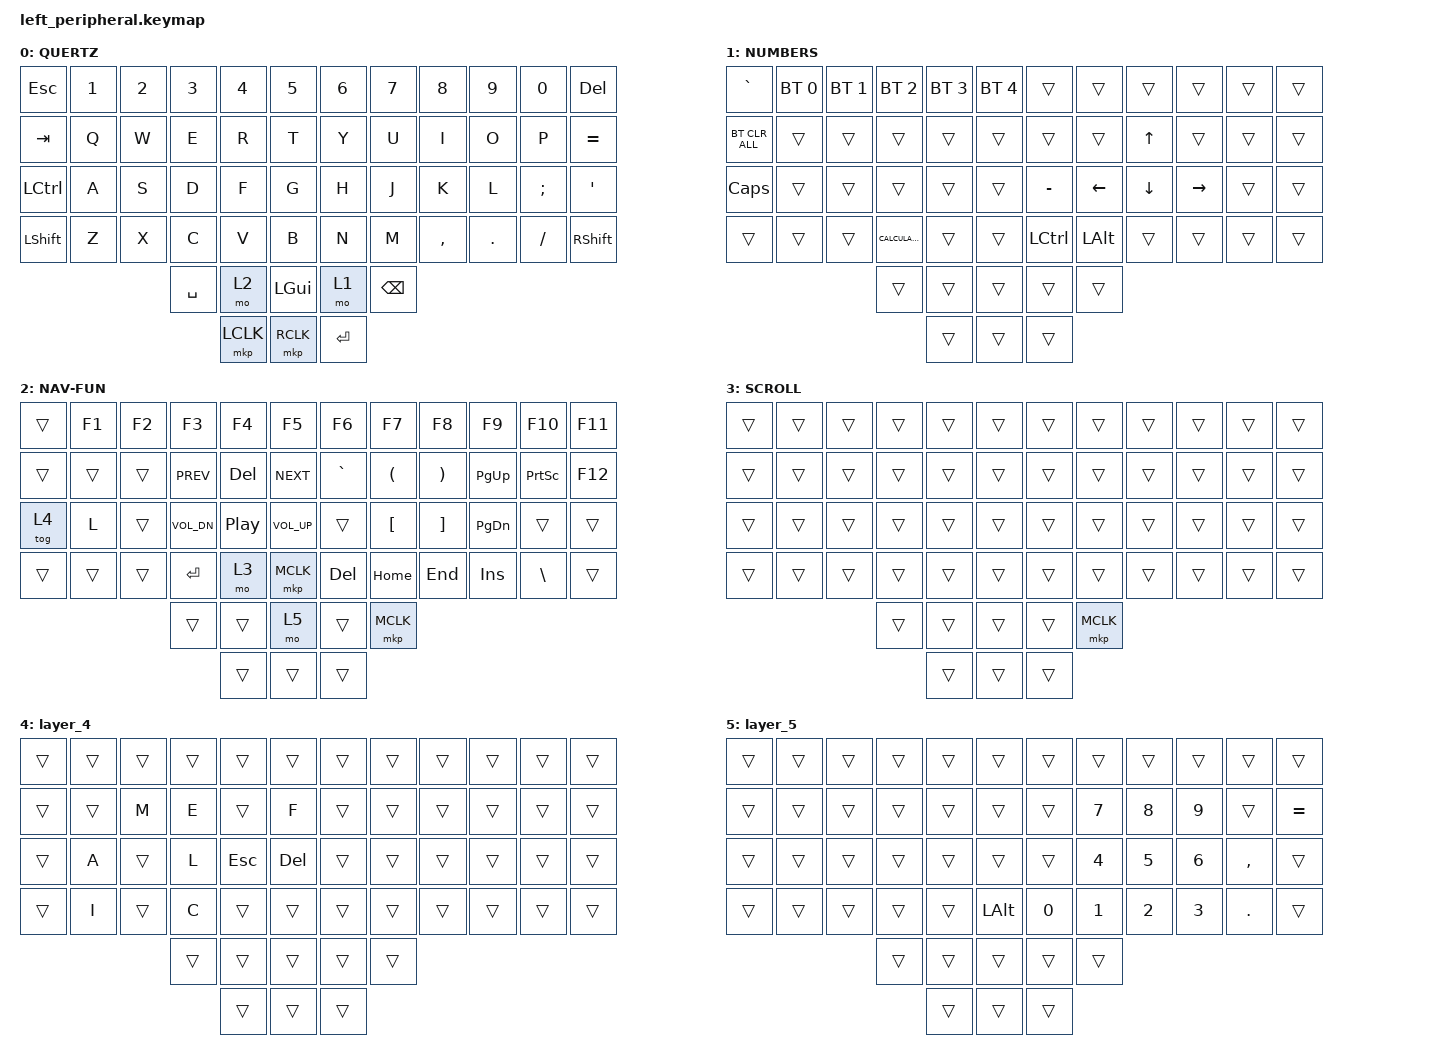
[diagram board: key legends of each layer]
// FROZEN copy of the keymap used ONLY to build the left half (split peripheral).
// The left half never runs the keymap; the right half does. Do not edit this file
// for keymap changes - edit config/charybdis.keymap instead.

#include <dt-bindings/zmk/mouse.h>
#include <behaviors/mouse_keys.dtsi>
#include <behaviors.dtsi>
#include <dt-bindings/zmk/bt.h>
#include <dt-bindings/zmk/keys.h>
#include <dt-bindings/zmk/pointing.h>

// / {
//     chosen { zmk,matrix_transform = &default_transform; };
// };

/ {
    /* input config for mouse move mode */

    trackball_listener {
        compatible = "zmk,input-behavior-listener";
        device = <&vtrackball>;
        layers = <0 1 2>;
        evt-type = <INPUT_EV_REL>;
        x-input-code = <INPUT_REL_X>;
        y-input-code = <INPUT_REL_Y>;
        scale-multiplier = <1>;
        scale-divisor = <2>;

        // bindings = <&ib_toggle_layer 7>;
    };

    /* input config for mouse scroll mode */

    trackball_scroll_listener {
        compatible = "zmk,input-behavior-listener";
        device = <&vtrackball>;
        layers = <3>;
        evt-type = <INPUT_EV_REL>;
        x-input-code = <INPUT_REL_MISC>;
        y-input-code = <INPUT_REL_WHEEL>;
        y-invert;
        bindings = <&ib_wheel_scaler 1 14>;
    };

    /* define a resolution down scaler only for INPUT_REL_WHEEL */

    ib_wheel_scaler: ib_wheel_scaler {
        compatible = "zmk,input-behavior-scaler";
        #binding-cells = <2>;
        evt-type = <INPUT_EV_REL>;
        input-code = <INPUT_REL_WHEEL>;
    };

    /* adjust cooldown waiting period for mouse key layer after activated */

    ib_toggle_layer: ib_toggle_layer {
        compatible = "zmk,input-behavior-tog-layer";
        #binding-cells = <1>;
        time-to-live-ms = <750>;
    };

    // #define QUERTZ    0
    // #define NUMBERS   1
    // #define NAV-FUN   2
    // #define MAC       3
    // #define MAC-NUM   4
    // #define MAC-NAV   5
    // #define GAME      6
    // #define GAME-NUM  7
    // #define GAME-NAV  8
    // #define SCROLL    9
    // #define SNIPER   10
    // #define FN       11

    behaviors {
        hmr: hmr {
            compatible = "zmk,behavior-hold-tap";
            label = "HMR";
            bindings = <&kp>, <&kp>;

            #binding-cells = <2>;
            tapping-term-ms = <200>;
            quick-tap-ms = <175>;
            flavor = "balanced";
            hold-trigger-key-positions = <0 1 2 3 4 5 12 13 14 15 16 17 24 25 26 27 28 29 36 37 38 39 40 41 48 49 50 53 54 51 52 55>;
            hold-trigger-on-release;
        };

        hml: hml {
            compatible = "zmk,behavior-hold-tap";
            label = "HML";
            bindings = <&kp>, <&kp>;

            #binding-cells = <2>;
            tapping-term-ms = <200>;
            quick-tap-ms = <175>;
            flavor = "balanced";
            hold-trigger-key-positions = <48 49 50 53 54 51 52 55 6 7 8 9 10 11 18 19 20 21 22 23 30 31 32 33 34 35 42 43 44 45 46 47 51 52>;
            hold-trigger-on-release;
        };
    };

    keymap {
        compatible = "zmk,keymap";

        default_win_layer {
            bindings = <
&kp ESCAPE      &kp N1  &kp N2  &kp N3     &kp N4     &kp N5          &kp N6     &kp N7         &kp N8     &kp N9   &kp N0         &kp DELETE
&kp TAB         &kp Q   &kp W   &kp E      &kp R      &kp T           &kp Y      &kp U          &kp I      &kp O    &kp P          &kp EQUAL
&kp LCTRL       &kp A   &kp S   &kp D      &kp F      &kp G           &kp H      &kp J          &kp K      &kp L    &kp SEMICOLON  &kp APOSTROPHE
&kp LEFT_SHIFT  &kp Z   &kp X   &kp C      &kp V      &kp B           &kp N      &kp M          &kp COMMA  &kp DOT  &kp SLASH      &kp RSHIFT
                                &kp SPACE  &mo 2      &kp LEFT_GUI    &mo 1      &kp BACKSPACE
                                           &mkp LCLK  &mkp RCLK       &kp ENTER
            >;

            label = "QUERTZ";
        };

        win_raise_layer {
            bindings = <
&kp GRAVE       &bt BT_SEL 0  &bt BT_SEL 1  &bt BT_SEL 2      &bt BT_SEL 3  &bt BT_SEL 4    &trans            &trans        &trans    &trans     &trans  &trans
&bt BT_CLR_ALL  &trans        &trans        &trans            &trans        &trans          &trans            &trans        &kp UP    &trans     &trans  &trans
&kp CAPS        &trans        &trans        &trans            &trans        &trans          &kp MINUS         &kp LEFT      &kp DOWN  &kp RIGHT  &trans  &trans
&trans          &trans        &trans        &kp K_CALCULATOR  &trans        &trans          &kp LEFT_CONTROL  &kp LEFT_ALT  &trans    &trans     &trans  &trans
                                            &trans            &trans        &trans          &trans            &trans
                                                              &trans        &trans          &trans
            >;

            label = "NUMBERS";
        };

        win_lower_layer {
            bindings = <
&trans  &kp F1  &kp F2  &kp F3        &kp F4            &kp F5          &kp F6      &kp F7                &kp F8                 &kp F9      &kp F10    &kp F11
&trans  &trans  &trans  &kp C_PREV    &kp DEL           &kp C_NEXT      &kp GRAVE   &kp LEFT_PARENTHESIS  &kp RIGHT_PARENTHESIS  &kp PG_UP   &kp PSCRN  &kp F12
&tog 4  &kp L   &trans  &kp C_VOL_DN  &kp C_PLAY_PAUSE  &kp C_VOL_UP    &trans      &kp LEFT_BRACKET      &kp RIGHT_BRACKET      &kp PG_DN   &trans     &trans
&trans  &trans  &trans  &kp ENTER     &mo 3             &mkp MCLK       &kp DELETE  &kp HOME              &kp END                &kp INSERT  &kp BSLH   &trans
                        &trans        &trans            &mo 5           &trans      &mkp MCLK
                                      &trans            &trans          &trans
            >;

            label = "NAV-FUN";
        };

        scroll_layer {
            bindings = <
&trans  &trans  &trans  &trans  &trans  &trans    &trans  &trans     &trans  &trans  &trans  &trans
&trans  &trans  &trans  &trans  &trans  &trans    &trans  &trans     &trans  &trans  &trans  &trans
&trans  &trans  &trans  &trans  &trans  &trans    &trans  &trans     &trans  &trans  &trans  &trans
&trans  &trans  &trans  &trans  &trans  &trans    &trans  &trans     &trans  &trans  &trans  &trans
                        &trans  &trans  &trans    &trans  &mkp MCLK
                                &trans  &trans    &trans
            >;

            label = "SCROLL";
        };

        layer_4 {
            bindings = <
&trans  &trans  &trans  &trans  &trans      &trans     &trans  &trans  &trans  &trans  &trans  &trans
&trans  &trans  &kp M   &kp E   &trans      &kp F      &trans  &trans  &trans  &trans  &trans  &trans
&trans  &kp A   &trans  &kp L   &kp ESCAPE  &kp DEL    &trans  &trans  &trans  &trans  &trans  &trans
&trans  &kp I   &trans  &kp C   &trans      &trans     &trans  &trans  &trans  &trans  &trans  &trans
                        &trans  &trans      &trans     &trans  &trans
                                &trans      &trans     &trans
            >;
        };

        layer_5 {
            bindings = <
&trans  &trans  &trans  &trans  &trans  &trans          &trans  &trans        &trans        &trans        &trans      &trans
&trans  &trans  &trans  &trans  &trans  &trans          &trans  &kp N7        &kp N8        &kp NUMBER_9  &trans      &kp EQUAL
&trans  &trans  &trans  &trans  &trans  &trans          &trans  &kp NUMBER_4  &kp N5        &kp NUMBER_6  &kp COMMA   &trans
&trans  &trans  &trans  &trans  &trans  &kp LEFT_ALT    &kp N0  &kp NUMBER_1  &kp NUMBER_2  &kp NUMBER_3  &kp PERIOD  &trans
                        &trans  &trans  &trans          &trans  &trans
                                &trans  &trans          &trans
            >;
        };
    };
};
